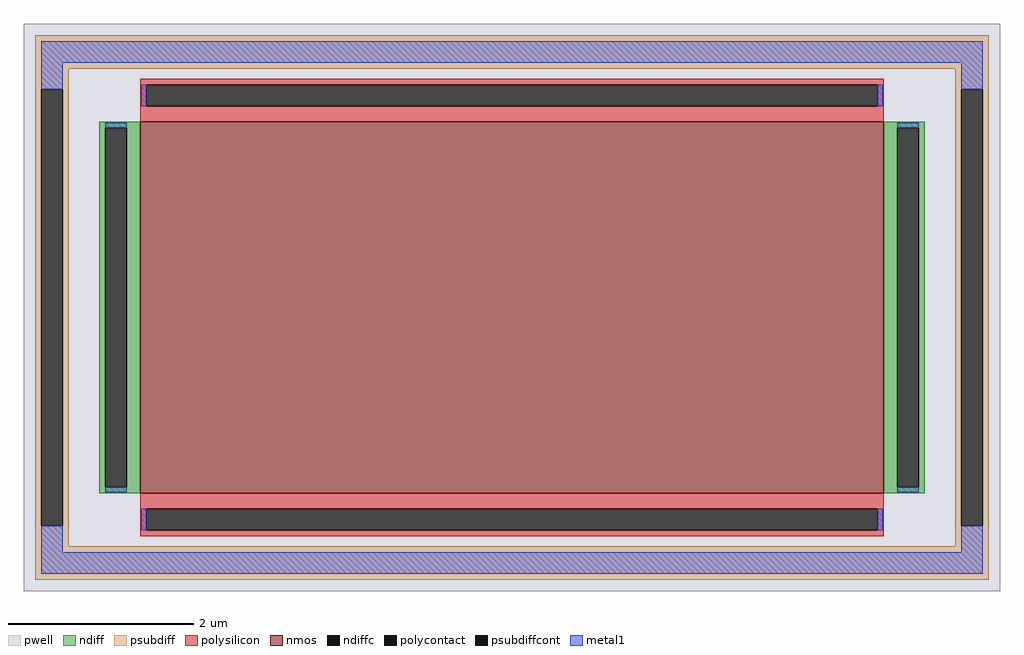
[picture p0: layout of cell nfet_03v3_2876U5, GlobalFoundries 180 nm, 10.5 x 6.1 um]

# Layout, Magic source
magic
tech gf180mcuD
magscale 1 10
<< pwell >>
rect -1050 -610 1050 610
<< nmos >>
rect -800 -400 800 400
<< ndiff >>
rect -888 387 -800 400
rect -888 -387 -875 387
rect -829 -387 -800 387
rect -888 -400 -800 -387
rect 800 387 888 400
rect 800 -387 829 387
rect 875 -387 888 387
rect 800 -400 888 -387
<< ndiffc >>
rect -875 -387 -829 387
rect 829 -387 875 387
<< psubdiff >>
rect -1026 514 1026 586
rect -1026 470 -954 514
rect -1026 -470 -1013 470
rect -967 -470 -954 470
rect 954 470 1026 514
rect -1026 -514 -954 -470
rect 954 -470 967 470
rect 1013 -470 1026 470
rect 954 -514 1026 -470
rect -1026 -586 1026 -514
<< psubdiffcont >>
rect -1013 -470 -967 470
rect 967 -470 1013 470
<< polysilicon >>
rect -800 479 800 492
rect -800 433 -787 479
rect 787 433 800 479
rect -800 400 800 433
rect -800 -433 800 -400
rect -800 -479 -787 -433
rect 787 -479 800 -433
rect -800 -492 800 -479
<< polycontact >>
rect -787 433 787 479
rect -787 -479 787 -433
<< metal1 >>
rect -1013 527 1013 573
rect -1013 470 -967 527
rect -798 433 -787 479
rect 787 433 798 479
rect 967 470 1013 527
rect -875 387 -829 398
rect -875 -398 -829 -387
rect 829 387 875 398
rect 829 -398 875 -387
rect -1013 -527 -967 -470
rect -798 -479 -787 -433
rect 787 -479 798 -433
rect 967 -527 1013 -470
rect -1013 -573 1013 -527
<< properties >>
string FIXED_BBOX -990 -550 990 550
string gencell nfet_03v3
string library gf180mcu
string parameters w 4.0 l 8.0 m 1 nf 1 diffcov 100 polycov 100 guard 1 glc 1 grc 1 gtc 0 gbc 0 tbcov 100 rlcov 100 topc 1 botc 1 poverlap 0 doverlap 1 lmin 0.28 wmin 0.22 class mosfet full_metal 1 compatible {nfet_03v3 nfet_06v0 nfet_06v0_nvt} ad {int((nf+1)/2) * W/nf * 0.18u} as {int((nf+2)/2) * W/nf * 0.18u} pd {2*int((nf+1)/2) * (W/nf + 0.18u)} ps {2*int((nf+2)/2) * (W/nf + 0.18u)} nrd {0.18u / W} nrs {0.18u / W} sa 0 sb 0 sd 0
<< end >>
